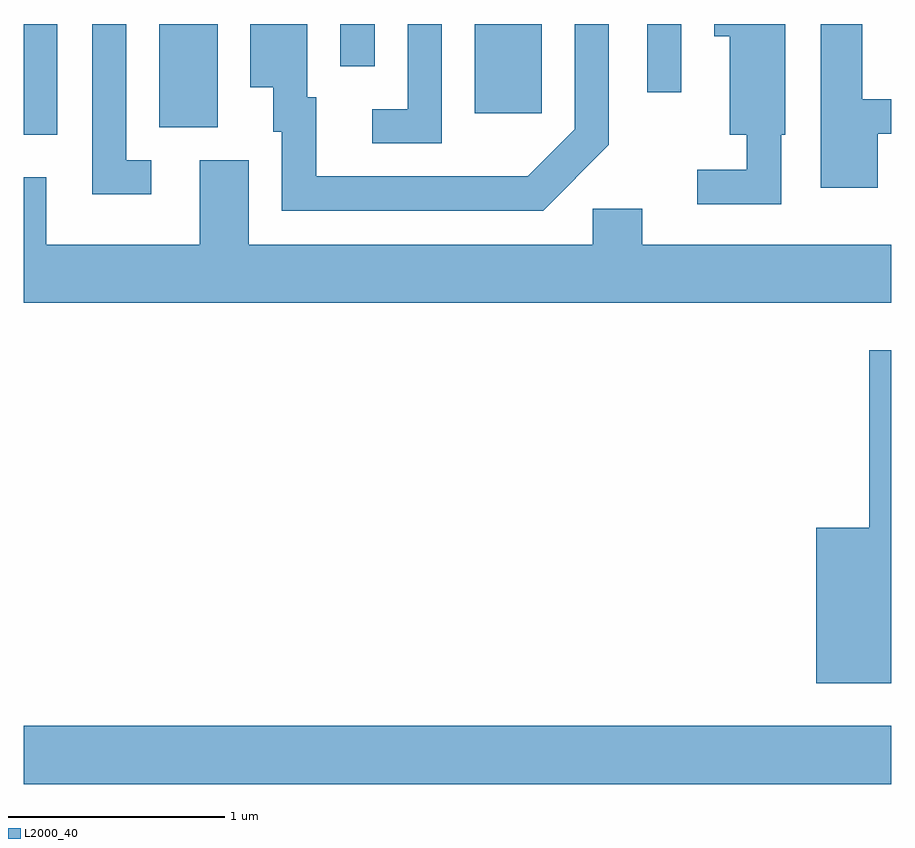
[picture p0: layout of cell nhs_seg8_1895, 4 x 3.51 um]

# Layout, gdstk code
import gdstk
lib = gdstk.Library(unit=1e-6, precision=1e-09)
def R(c, l, rs):  # rectangles x0, y0, x1, y1
    for r in rs: c.add(gdstk.rectangle(r[:2], r[2:], *l))
def P(c, l, *ps):  # polygons
    for p in ps: c.add(gdstk.Polygon(p, *l))
L2000_40 = (2000, 40)

nhs_seg8_1895 = lib.new_cell('nhs_seg8_1895')
R(nhs_seg8_1895, L2000_40, [(241.611,1860.836,245.611,1861.104), (241.611,1863.831,241.764,1864.342), (242.236,1863.866,242.504,1864.342), (243.691,1863.931,243.999,1864.342), (244.486,1864.028,244.644,1864.342), (243.071,1864.148,243.229,1864.342)])
P(nhs_seg8_1895, L2000_40, [(245.549,1863.836),(245.611,1863.836),(245.611,1863.994),(245.479,1863.994),(245.479,1864.342),(245.286,1864.342),(245.286,1863.586),(245.549,1863.586)],
  [(244.309,1863.784),(244.309,1864.342),(244.151,1864.342),(244.151,1863.857),(243.934,1863.639),(242.959,1863.639),(242.959,1864.004),(242.919,1864.004),(242.919,1864.342),(242.656,1864.342),(242.656,1864.051),(242.761,1864.051),(242.761,1863.846),(242.801,1863.846),(242.801,1863.481),(244.007,1863.481)],
  [(243.539,1864.342),(243.381,1864.342),(243.381,1863.949),(243.218,1863.949),(243.218,1863.791),(243.539,1863.791)],
  [(245.104,1863.831),(245.124,1863.831),(245.124,1864.342),(244.796,1864.342),(244.796,1864.286),(244.866,1864.286),(244.866,1863.831),(244.946,1863.831),(244.946,1863.669),(244.718,1863.669),(244.718,1863.511),(245.104,1863.511)],
  [(242.198,1863.714),(242.084,1863.714),(242.084,1864.342),(241.926,1864.342),(241.926,1863.556),(242.198,1863.556)],
  [(245.611,1863.324),(244.464,1863.324),(244.464,1863.489),(244.236,1863.489),(244.236,1863.324),(242.649,1863.324),(242.649,1863.714),(242.421,1863.714),(242.421,1863.324),(241.714,1863.324),(241.714,1863.634),(241.611,1863.634),(241.611,1863.056),(245.611,1863.056)],
  [(245.611,1862.838),(245.511,1862.838),(245.511,1862.019),(245.266,1862.019),(245.266,1861.301),(245.611,1861.301)])

lib.write_gds('nhs_seg8_1895.gds')
